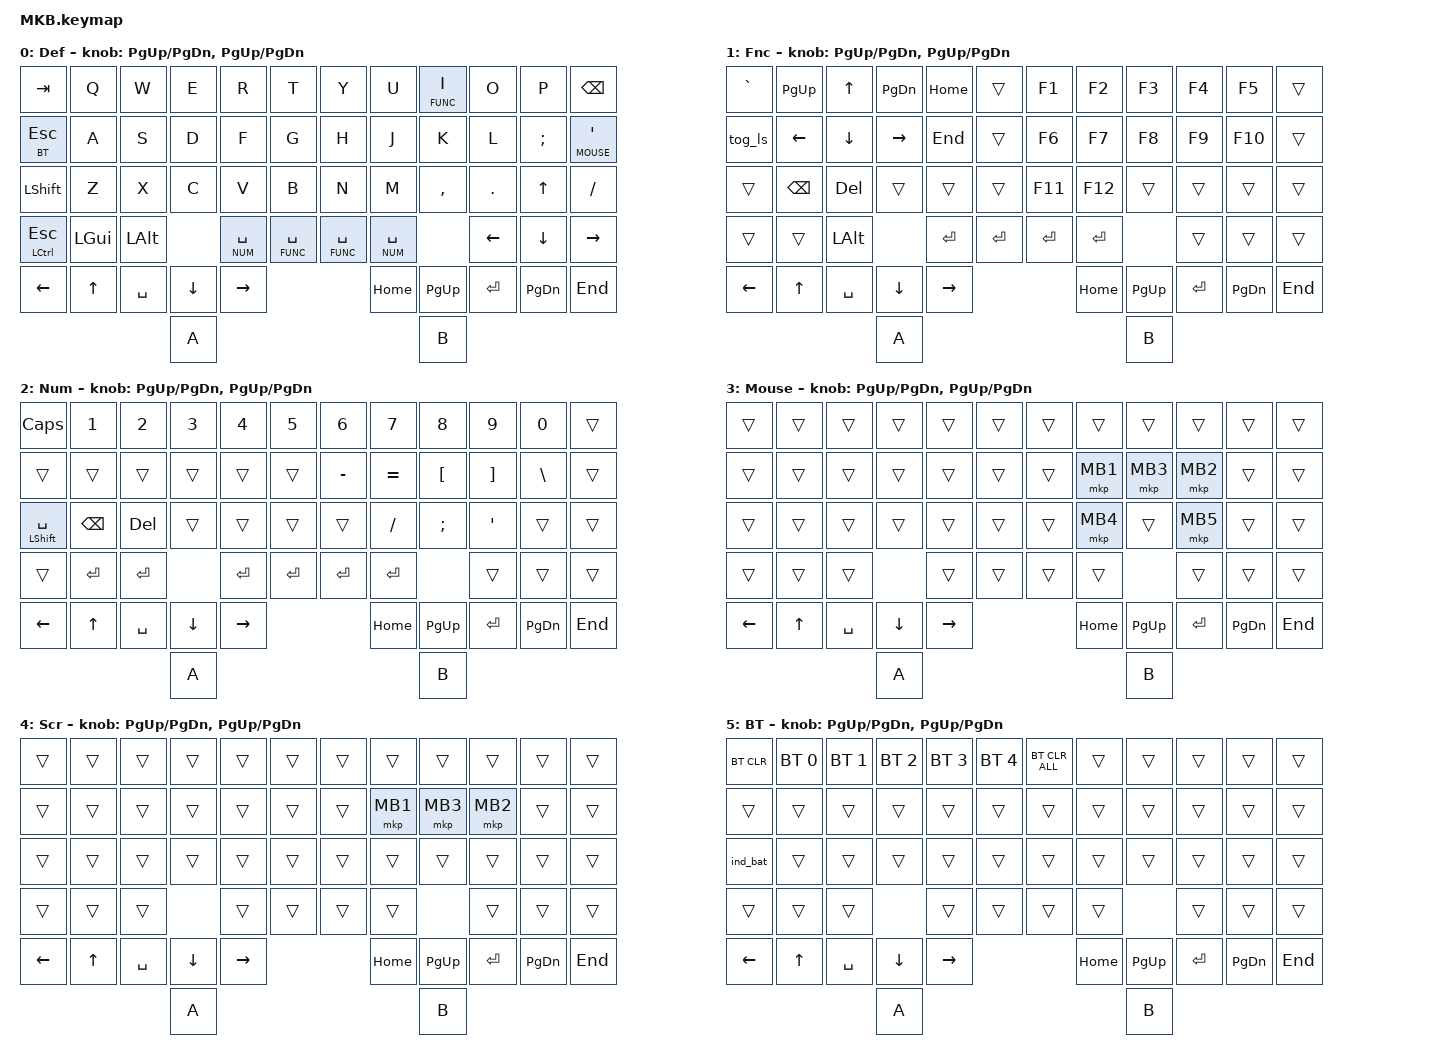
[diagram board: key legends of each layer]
// #include <layout_shift.dtsi>

#include <layout_shift_kp_override.dtsi>
#include <behaviors/rgbled_widget.dtsi>
#include <behaviors.dtsi>
#include <dt-bindings/zmk/bt.h>
#include <dt-bindings/zmk/keys.h>
#include <dt-bindings/zmk/pointing.h>

#define DEF 0
#define FUNC 1
#define NUM 2
#define MOUSE 3
#define SCROLL 4
#define BT 5

&mt {
    flavor = "balanced";
    tapping-term-ms = <280>;
    quick-tap-ms = <175>;
    require-prior-idle-ms = <150>;
};

/ {
    combos {
        compatible = "zmk,combos";

        combo_kana {
            bindings = <&kp LANGUAGE_1>;
            key-positions = <19 20>;
        };

        combo_eisu {
            bindings = <&kp LANGUAGE_2>;
            key-positions = <15 16>;
        };
    };

    keymap {
        compatible = "zmk,keymap";

        default_layer {
            label = "Def";
            bindings = <
&kp TAB        &kp Q     &kp W      &kp E     &kp R          &kp T               &kp Y           &kp U          &lt FUNC I  &kp O      &kp P      &kp BACKSPACE
&lt BT ESC     &kp A     &kp S      &kp D     &kp F          &kp G               &kp H           &kp J          &kp K       &kp L      &kp SEMI   &lt MOUSE SQT
&kp LSHFT      &kp Z     &kp X      &kp C     &kp V          &kp B               &kp N           &kp M          &kp COMMA   &kp DOT    &kp UP     &kp FSLH
&mt LCTRL ESC  &kp LGUI  &kp LALT             &lt NUM SPACE  &lt FUNC SPACE      &lt FUNC SPACE  &lt NUM SPACE              &kp LEFT   &kp DOWN   &kp RIGHT
&kp LEFT       &kp UP    &kp SPACE  &kp DOWN  &kp RIGHT                                          &kp HOME       &kp PG_UP   &kp ENTER  &kp PG_DN  &kp END
                                    &kp A                                                                       &kp B
            >;

            sensor-bindings =
                <&inc_dec_kp PAGE_UP PAGE_DOWN>,
                <&inc_dec_kp PG_UP PG_DN>;
        };

        function_layer {
            label = "Fnc";
            bindings = <
&kp GRAVE  &kp PG_UP  &kp UP     &kp PG_DN  &kp HOME   &trans         &kp F1     &kp F2     &kp F3     &kp F4     &kp F5     &trans
&tog_ls    &kp LEFT   &kp DOWN   &kp RIGHT  &kp END    &trans         &kp F6     &kp F7     &kp F8     &kp F9     &kp F10    &trans
&trans     &kp BKSP   &kp DEL    &trans     &trans     &trans         &kp F11    &kp F12    &trans     &trans     &trans     &trans
&trans     &trans     &kp LALT              &kp ENTER  &kp ENTER      &kp ENTER  &kp ENTER             &trans     &trans     &trans
&kp LEFT   &kp UP     &kp SPACE  &kp DOWN   &kp RIGHT                            &kp HOME   &kp PG_UP  &kp ENTER  &kp PG_DN  &kp END
                                 &kp A                                                      &kp B
            >;

            sensor-bindings =
                <&inc_dec_kp PAGE_UP PAGE_DOWN>,
                <&inc_dec_kp PG_UP PG_DN>;
        };

        num_layer {
            label = "Num";
            bindings = <
&kp CAPS         &kp N1         &kp N2     &kp N3    &kp N4     &kp N5         &kp N6     &kp N7     &kp N8     &kp N9     &kp N0     &trans
&trans           &trans         &trans     &trans    &trans     &trans         &kp MINUS  &kp EQUAL  &kp LBKT   &kp RBKT   &kp BSLH   &trans
&mt LSHFT SPACE  &kp BACKSPACE  &kp DEL    &trans    &trans     &trans         &trans     &kp FSLH   &kp SEMI   &kp SQT    &trans     &trans
&trans           &kp ENTER      &kp ENTER            &kp ENTER  &kp ENTER      &kp ENTER  &kp ENTER             &trans     &trans     &trans
&kp LEFT         &kp UP         &kp SPACE  &kp DOWN  &kp RIGHT                            &kp HOME   &kp PG_UP  &kp ENTER  &kp PG_DN  &kp END
                                           &kp A                                                     &kp B
            >;

            sensor-bindings =
                <&inc_dec_kp PAGE_UP PAGE_DOWN>,
                <&inc_dec_kp PG_UP PG_DN>;
        };

        mouse_layer {
            label = "Mouse";
            bindings = <
&trans    &trans  &trans     &trans    &trans     &trans      &trans  &trans    &trans     &trans     &trans     &trans
&trans    &trans  &trans     &trans    &trans     &trans      &trans  &mkp MB1  &mkp MB3   &mkp MB2   &trans     &trans
&trans    &trans  &trans     &trans    &trans     &trans      &trans  &mkp MB4  &trans     &mkp MB5   &trans     &trans
&trans    &trans  &trans               &trans     &trans      &trans  &trans               &trans     &trans     &trans
&kp LEFT  &kp UP  &kp SPACE  &kp DOWN  &kp RIGHT                      &kp HOME  &kp PG_UP  &kp ENTER  &kp PG_DN  &kp END
                             &kp A                                              &kp B
            >;

            sensor-bindings =
                <&inc_dec_kp PAGE_UP PAGE_DOWN>,
                <&inc_dec_kp PG_UP PG_DN>;
        };

        scroll_layer {
            label = "Scr";
            bindings = <
&trans    &trans  &trans     &trans    &trans     &trans      &trans  &trans    &trans     &trans     &trans     &trans
&trans    &trans  &trans     &trans    &trans     &trans      &trans  &mkp MB1  &mkp MB3   &mkp MB2   &trans     &trans
&trans    &trans  &trans     &trans    &trans     &trans      &trans  &trans    &trans     &trans     &trans     &trans
&trans    &trans  &trans               &trans     &trans      &trans  &trans               &trans     &trans     &trans
&kp LEFT  &kp UP  &kp SPACE  &kp DOWN  &kp RIGHT                      &kp HOME  &kp PG_UP  &kp ENTER  &kp PG_DN  &kp END
                             &kp A                                              &kp B
            >;

            sensor-bindings =
                <&inc_dec_kp PAGE_UP PAGE_DOWN>,
                <&inc_dec_kp PG_UP PG_DN>;
        };

        bt_layer {
            label = "BT";
            bindings = <
&bt BT_CLR  &bt BT_SEL 0  &bt BT_SEL 1  &bt BT_SEL 2  &bt BT_SEL 3  &bt BT_SEL 4      &bt BT_CLR_ALL  &trans    &trans     &trans     &trans     &trans
&trans      &trans        &trans        &trans        &trans        &trans            &trans          &trans    &trans     &trans     &trans     &trans
&ind_bat    &trans        &trans        &trans        &trans        &trans            &trans          &trans    &trans     &trans     &trans     &trans
&trans      &trans        &trans                      &trans        &trans            &trans          &trans               &trans     &trans     &trans
&kp LEFT    &kp UP        &kp SPACE     &kp DOWN      &kp RIGHT                                       &kp HOME  &kp PG_UP  &kp ENTER  &kp PG_DN  &kp END
                                        &kp A                                                                   &kp B
            >;

            sensor-bindings =
                <&inc_dec_kp PAGE_UP PAGE_DOWN>,
                <&inc_dec_kp PG_UP PG_DN>;
        };
    };
};
